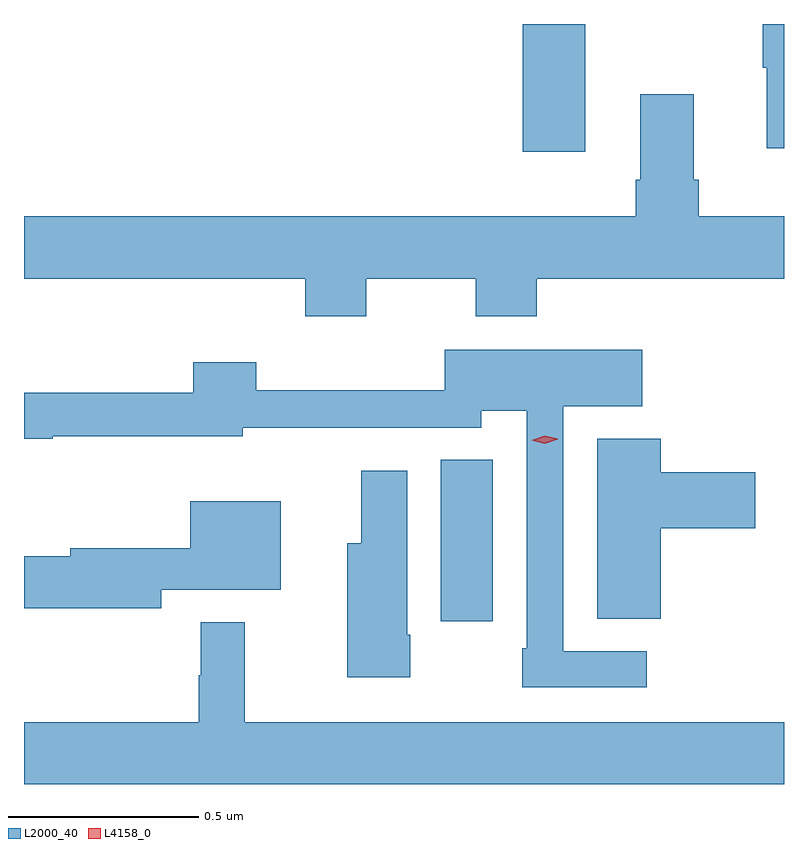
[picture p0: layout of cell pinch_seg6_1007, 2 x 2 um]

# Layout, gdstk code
import gdstk
lib = gdstk.Library(unit=1e-6, precision=1e-09)
def R(c, l, rs):  # rectangles x0, y0, x1, y1
    for r in rs: c.add(gdstk.rectangle(r[:2], r[2:], *l))
def P(c, l, *ps):  # polygons
    for p in ps: c.add(gdstk.Polygon(p, *l))
L2000_40 = (2000, 40)
L4158_0 = (4158, 0)

pinch_seg6_1007 = lib.new_cell('pinch_seg6_1007')
R(pinch_seg6_1007, L2000_40, [(290.78,949.098,290.917,949.523), (290.996,950.334,291.16,950.67)])
P(pinch_seg6_1007, L2000_40, [(291.683,950.67),(291.627,950.67),(291.627,950.555),(291.638,950.555),(291.638,950.343),(291.683,950.343)],
  [(290.583,950),(290.872,950),(290.872,949.901),(291.032,949.901),(291.032,950),(291.683,950),(291.683,950.164),(291.458,950.164),(291.458,950.26),(291.445,950.26),(291.445,950.485),(291.305,950.485),(291.305,950.26),(291.293,950.26),(291.293,950.164),(289.683,950.164),(289.683,950),(290.423,950),(290.423,949.901),(290.583,949.901)],
  [(291.322,949.02),(291.102,949.02),(291.102,949.664),(291.31,949.664),(291.31,949.813),(290.79,949.813),(290.79,949.706),(290.294,949.706),(290.294,949.78),(290.129,949.78),(290.129,949.699),(289.683,949.699),(289.683,949.578),(289.759,949.578),(289.759,949.585),(290.259,949.585),(290.259,949.607),(290.474,949.607),(290.474,949.608),(290.886,949.608),(290.886,949.652),(291.006,949.652),(291.006,949.027),(290.994,949.027),(290.994,948.924),(291.322,948.924)],
  [(291.358,949.343),(291.607,949.343),(291.607,949.49),(291.358,949.49),(291.358,949.579),(291.191,949.579),(291.191,949.105),(291.358,949.105)],
  [(290.7,949.063),(290.692,949.063),(290.692,949.495),(290.57,949.495),(290.57,949.303),(290.534,949.303),(290.534,948.951),(290.7,948.951)],
  [(290.044,949.181),(290.359,949.181),(290.359,949.414),(290.12,949.414),(290.12,949.291),(289.805,949.291),(289.805,949.269),(289.683,949.269),(289.683,949.132),(290.044,949.132)],
  [(291.683,948.832),(290.264,948.832),(290.264,949.096),(290.148,949.096),(290.148,948.956),(290.143,948.956),(290.143,948.832),(289.683,948.832),(289.683,948.67),(291.683,948.67)])
P(pinch_seg6_1007, L4158_0, [(291.054,949.566),(291.019,949.575),(291.018,949.575),(291.019,949.575),(291.053,949.586),(291.088,949.578),(291.088,949.578),(291.088,949.577)])

lib.write_gds('pinch_seg6_1007.gds')
